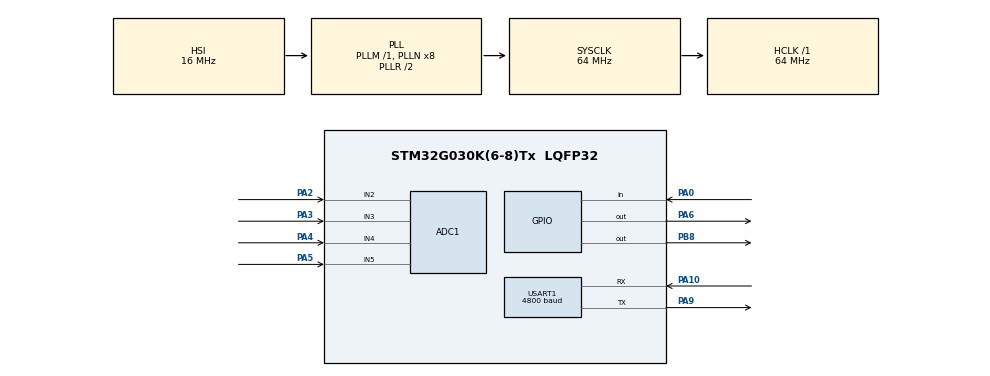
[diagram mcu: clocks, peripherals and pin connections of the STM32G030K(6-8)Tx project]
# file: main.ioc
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ADC1.Channel-0\#ChannelRegularConversion=ADC_CHANNEL_2
ADC1.NbrOfConversionFlag=1
ADC1.Rank-0\#ChannelRegularConversion=1
ADC1.SamplingTime-0\#ChannelRegularConversion=ADC_SAMPLINGTIME_COMMON_1
ADC1.SelectedChannel=ADC_CHANNEL_2|ADC_CHANNEL_3|ADC_CHANNEL_4|ADC_CHANNEL_5
ADC1.master=1
Dma.ADC1.0.Direction=DMA_PERIPH_TO_MEMORY
Dma.ADC1.0.EventEnable=DISABLE
Dma.ADC1.0.Instance=DMA1_Channel1
Dma.ADC1.0.MemDataAlignment=DMA_MDATAALIGN_HALFWORD
Dma.ADC1.0.MemInc=DMA_MINC_ENABLE
Dma.ADC1.0.Mode=DMA_NORMAL
Dma.ADC1.0.PeriphDataAlignment=DMA_PDATAALIGN_HALFWORD
Dma.ADC1.0.PeriphInc=DMA_PINC_DISABLE
Dma.ADC1.0.Polarity=HAL_DMAMUX_REQ_GEN_RISING
Dma.ADC1.0.Priority=DMA_PRIORITY_LOW
Dma.ADC1.0.RequestNumber=1
Dma.ADC1.0.SignalID=NONE
Dma.ADC1.0.SyncEnable=DISABLE
Dma.ADC1.0.SyncPolarity=HAL_DMAMUX_SYNC_NO_EVENT
Dma.ADC1.0.SyncRequestNumber=1
Dma.ADC1.0.SyncSignalID=NONE
Dma.Request0=ADC1
Mcu.Family=STM32G0
Mcu.Name=STM32G030K(6-8)Tx
Mcu.Package=LQFP32
NVIC.DMA1_Channel1_IRQn=true\:0\:0\:false\:false\:true\:false\:true\:true
PA0.GPIO_PuPd=GPIO_PULLDOWN
PA0.Signal=GPIO_Input
PA10.Mode=Asynchronous
PA10.Signal=USART1_RX
PA13.Mode=Serial_Wire
PA13.Signal=SYS_SWDIO
PA14-BOOT0.Mode=Serial_Wire
PA14-BOOT0.Signal=SYS_SWCLK
PA2.Mode=IN2
PA2.Signal=ADC1_IN2
PA3.Mode=IN3
PA3.Signal=ADC1_IN3
PA4.Mode=IN4
PA4.Signal=ADC1_IN4
PA5.Mode=IN5
PA5.Signal=ADC1_IN5
PA6.Signal=GPIO_Output
PA9.Mode=Asynchronous
PA9.Signal=USART1_TX
PB8.Signal=GPIO_Output
ProjectManager.HeapSize=0x200
ProjectManager.StackSize=0x400
ProjectManager.TargetToolchain=MDK-ARM V5.32
RCC.ADCFreq_Value=64000000
RCC.AHBFreq_Value=64000000
RCC.CortexFreq_Value=64000000
RCC.EXTERNAL_CLOCK_VALUE=12288000
RCC.HCLKFreq_Value=64000000
RCC.HSE_VALUE=8000000
RCC.HSI_VALUE=16000000
RCC.SYSCLKFreq_VALUE=64000000
RCC.SYSCLKSource=RCC_SYSCLKSOURCE_PLLCLK
RCC.VCOOutputFreq_Value=128000000
USART1.BaudRate=4800
USART1.VirtualMode-Asynchronous=VM_ASYNC
board=custom

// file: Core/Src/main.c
/* USER CODE BEGIN Header */
/**
  ******************************************************************************
  * @file           : main.c
  * @brief          : Main program body
  ******************************************************************************
  * @attention
  *
  * Copyright (c) 2026 STMicroelectronics.
  * All rights reserved.
  *
  * This software is licensed under terms that can be found in the LICENSE file
  * in the root directory of this software component.
  * If no LICENSE file comes with this software, it is provided AS-IS.
  *
  ******************************************************************************
  */
/* USER CODE END Header */
#include "main.h"
#include "adc.h"
#include "dma.h"
#include "usart.h"
#include "gpio.h"

/* USER CODE BEGIN Includes */
#include <string.h>
/* USER CODE END Includes */

/* USER CODE BEGIN PD */
/* ===================== 从机：串口 DMA 接收 + 帧解析 + GPIO 输出 =====================
   主机每 200ms 至少发一帧（状态一变立刻发）：  CC      data      EE
                                                帧头     数据      帧尾   （固定 3 字节）
   data 的每一位代表一路手套：bit0=CH1 … bit4=CH5（1 = 该路弯曲）

   规则：data 里"二进制 1 的个数" >= BITS_ON_MIN(3)  ->  PA6 输出"亮" + 板载蓝灯 PB8 亮
         否则（1 的个数 0~2 个）                      ->  PA6 输出"灭" + PB8 灭

   接收方式：环形缓冲 + 字节流状态机（不是"一次收固定 3 字节"）
     收到 0xCC 才当帧头、收到 0xEE 才认帧尾，中间夹进来的任何杂字节都会被丢掉，
     所以不管主机比从机晚开机多久、中间有没有打印调试信息，都能自动重新对齐。
   ===================================================================== */
#define RX_RING_SIZE    32u     /* 环形接收缓冲大小（字节） */
#define FRAME_HEAD      0xCCu   /* 帧头 */
#define FRAME_TAIL      0xEEu   /* 帧尾 */

/* ---------- 输出脚 PA6（板子丝印 CH5 网络）：普通 GPIO 输出 ----------
   规则：data 里 1 的个数 >= BITS_ON_MIN -> 输出"亮"电平；否则 -> 输出"灭"电平
   默认 高电平 = 亮（接继电器模块/LED 串电阻到 GND 这类负载）；
   如果你的灯是低电平点亮，把 OUT_ON_LEVEL / OUT_OFF_LEVEL 两个宏对调即可 */
#define OUT_GPIO_PORT   GPIOA
#define OUT_GPIO_PIN    GPIO_PIN_6
#define OUT_ON_LEVEL    GPIO_PIN_SET
#define OUT_OFF_LEVEL   GPIO_PIN_RESET

/* 板载蓝灯 PB8：和 PA6 同一个条件（data 里 1 的个数 >= BITS_ON_MIN -> 亮）
   板载蓝灯是低电平点亮（VCC3V3→LED→1K→PB8） */
#define LED_GPIO_PORT   GPIOB
#define LED_GPIO_PIN    GPIO_PIN_8
#define LED_ON_LEVEL    GPIO_PIN_RESET
#define LED_OFF_LEVEL   GPIO_PIN_SET

/* ★ 亮灯门限：data 的二进制里有几个 1
   >= 3 -> 亮（改这个数字就能改判定条件，1~5 之间）
   例：data=0x1C = 11100 -> 3 个 1 -> 亮；data=0x18 = 11000 -> 2 个 1 -> 灭 */
#define BITS_ON_MIN     3u

/* 各通道对应的位（仅供参考/以后要改回"某几路同时为 1"时用） */
#define CH1_MASK        0x01u   /* bit0 */
#define CH2_MASK        0x02u   /* bit1 */
#define CH3_MASK        0x04u   /* bit2 */
#define CH4_MASK        0x08u   /* bit3 */
#define CH5_MASK        0x10u   /* bit4 */
#define CH45_MASK       (CH4_MASK | CH5_MASK)

/* 串口接收 DMA：G030 只有 DMA1_Channel1~3，Channel1 被 ADC 占了，这里用 Channel2 */
#define RX_DMA_CHANNEL     DMA1_Channel2
#define RX_DMA_IRQn        DMA1_Channel2_3_IRQn
#define RX_DMA_IRQHandler  DMA1_Channel2_3_IRQHandler
/* USER CODE END PD */

/* USER CODE BEGIN PV */
static uint8_t  rx_ring[RX_RING_SIZE];          /* DMA 循环往里写的环形缓冲 */
static uint16_t rx_read_pos = 0U;               /* 已经解析到环形缓冲的哪个位置 */
static DMA_HandleTypeDef hdma_usart1_rx_sw;     /* 串口接收 DMA 句柄 */

/* 帧解析状态机：找帧头 -> 收 data -> 等帧尾 */
#define RX_ST_HEAD  0U
#define RX_ST_DATA  1U
#define RX_ST_TAIL  2U
static uint8_t rx_st   = RX_ST_HEAD;
static uint8_t rx_data = 0U;
/* USER CODE END PV */

void SystemClock_Config(void);

/* USER CODE BEGIN 0 */
/*==============================================================================
 *                          从机功能代码
 *============================================================================*/

/* 数一个字节里有几个二进制 1（Kernighan 法：v &= v-1 每轮消掉最低位的 1）
   例：0x1C(11100) -> 3 ；0x18(11000) -> 2 ；0x00 -> 0 */
static uint8_t bit_count(uint8_t v)
{
  uint8_t n = 0u;

  while (v != 0u)
  {
    v &= (uint8_t)(v - 1u);
    n++;
  }
  return n;
}

/* 板载蓝灯：on != 0 点亮，否则熄灭 */
static void out_led(uint8_t on)
{
  HAL_GPIO_WritePin(LED_GPIO_PORT, LED_GPIO_PIN, (on != 0u) ? LED_ON_LEVEL : LED_OFF_LEVEL);
}

/* PA6 配成普通推挽输出（不用 PWM 了），上电先输出"灭" */
static void out_gpio_init(void)
{
  GPIO_InitTypeDef gpio = {0};

  __HAL_RCC_GPIOA_CLK_ENABLE();

  gpio.Pin   = OUT_GPIO_PIN;              /* PA6 */
  gpio.Mode  = GPIO_MODE_OUTPUT_PP;       /* 推挽输出 */
  gpio.Pull  = GPIO_NOPULL;
  gpio.Speed = GPIO_SPEED_FREQ_LOW;
  HAL_GPIO_Init(OUT_GPIO_PORT, &gpio);

  HAL_GPIO_WritePin(OUT_GPIO_PORT, OUT_GPIO_PIN, OUT_OFF_LEVEL);   /* 上电默认"灭" */
}

/* PA6 输出开关：on != 0 -> 亮电平，否则 -> 灭电平 */
static void out_write(uint8_t on)
{
  HAL_GPIO_WritePin(OUT_GPIO_PORT, OUT_GPIO_PIN, (on != 0u) ? OUT_ON_LEVEL : OUT_OFF_LEVEL);
}

/* 串口接收 DMA：外设(USART1->RDR) -> 内存(rx_ring)，循环模式，一直收不停 */
static void uart1_rx_dma_init(void)
{
  __HAL_RCC_DMA1_CLK_ENABLE();

  hdma_usart1_rx_sw.Instance                 = RX_DMA_CHANNEL;
  hdma_usart1_rx_sw.Init.Request             = DMA_REQUEST_USART1_RX;
  hdma_usart1_rx_sw.Init.Direction           = DMA_PERIPH_TO_MEMORY;
  hdma_usart1_rx_sw.Init.PeriphInc           = DMA_PINC_DISABLE;
  hdma_usart1_rx_sw.Init.MemInc              = DMA_MINC_ENABLE;
  hdma_usart1_rx_sw.Init.PeriphDataAlignment = DMA_PDATAALIGN_BYTE;
  hdma_usart1_rx_sw.Init.MemDataAlignment    = DMA_MDATAALIGN_BYTE;
  hdma_usart1_rx_sw.Init.Mode                = DMA_CIRCULAR;     /* 循环搬运：满了自动回到开头 */
  hdma_usart1_rx_sw.Init.Priority            = DMA_PRIORITY_HIGH;
  if (HAL_DMA_Init(&hdma_usart1_rx_sw) != HAL_OK)
  {
    Error_Handler();
  }

  __HAL_LINKDMA(&huart1, hdmarx, hdma_usart1_rx_sw);

  /* DMA1_Channel2 和 Channel3 共用一个中断向量 */
  HAL_NVIC_SetPriority(RX_DMA_IRQn, 0, 0);
  HAL_NVIC_EnableIRQ(RX_DMA_IRQn);
}

/* DMA 中断（本方案靠主循环查计数取数据，其实用不到，留着以防以后改用中断） */
void RX_DMA_IRQHandler(void)
{
  HAL_DMA_IRQHandler(&hdma_usart1_rx_sw);
}

/* 挂上接收：只挂这一次，之后 DMA 一直在环形缓冲里收 */
static void rx_start(void)
{
  if (HAL_UART_Receive_DMA(&huart1, rx_ring, RX_RING_SIZE) != HAL_OK)
  {
    Error_Handler();
  }

  /* 不需要 DMA 中断：把中断源关掉，主循环自己查 DMA 剩余计数取数据 */
  __HAL_DMA_DISABLE_IT(&hdma_usart1_rx_sw, DMA_IT_TC | DMA_IT_HT | DMA_IT_TE);
}

/* 把 DMA 新收进来的字节喂给状态机（在主循环里频繁调用） */
static void rx_poll(void)
{
  /* DMA 剩余计数 = 还没搬的字节数，所以“环形大小 - 剩余”= 已经收到的字节位置 */
  uint16_t pos = (uint16_t)(RX_RING_SIZE - __HAL_DMA_GET_COUNTER(huart1.hdmarx));

  while (rx_read_pos != pos)
  {
    uint8_t b = rx_ring[rx_read_pos];

    rx_read_pos++;
    if (rx_read_pos >= RX_RING_SIZE)
    {
      rx_read_pos = 0U;
    }

    /* 串口收到字节就不再需要额外处理（灯的亮灭由下面的合法帧控制） */

    switch (rx_st)
    {
      case RX_ST_HEAD:                        /* 找帧头：不是 0xCC 就丢掉，自动重新对齐 */
        if (b == FRAME_HEAD)
        {
          rx_st = RX_ST_DATA;
        }
        break;

      case RX_ST_DATA:                        /* 收 data */
        rx_data = b;
        rx_st   = RX_ST_TAIL;
        break;

      default:                                /* 等帧尾 */
        if (b == FRAME_TAIL)                  /* 完整有效帧 CC data EE */
        {
          /* data 的二进制里"1 的个数" >= BITS_ON_MIN(3)  -> 输出"亮"
             否则（0~2 个 1）                            -> 输出"灭"
             PA6（板子丝印 CH5）和板载蓝灯 PB8 是同一个条件 */
          if (bit_count(rx_data) >= BITS_ON_MIN)
          {
            out_write(1U);
            out_led(1U);
          }
          else
          {
            out_write(0U);
            out_led(0U);
          }

          rx_st = RX_ST_HEAD;
        }
        else if (b == FRAME_HEAD)             /* 帧尾不对，但这个字节可能就是下一帧的帧头 */
        {
          rx_st = RX_ST_DATA;
        }
        else
        {
          rx_st = RX_ST_HEAD;                 /* 彻底重新找帧头 */
        }
        break;
    }
  }
}
/* USER CODE END 0 */

int main(void)
{

  /* MCU Configuration--------------------------------------------------------*/

  /* Reset of all peripherals, Initializes the Flash interface and the Systick. */
  HAL_Init();

  /* Configure the system clock */
  SystemClock_Config();

  /* Initialize all configured peripherals */
  MX_GPIO_Init();
  MX_DMA_Init();
  MX_ADC1_Init();
  MX_USART1_UART_Init();
  /* USER CODE BEGIN 2 */
  out_gpio_init();          /* PA6 配成普通推挽输出（上电"灭"） */
  uart1_rx_dma_init();      /* 自己配一套串口接收 DMA（DMA1_Channel2，循环模式） */
  rx_start();               /* 只挂这一次，之后一直收 */

  /* 上电自检：PB8 快闪 3 下，看到这 3 下就说明新固件在跑；闪完停在"灭" */
  for (uint8_t i = 0U; i < 3U; i++)
  {
    out_led(1U);
    HAL_Delay(100U);
    out_led(0U);
    HAL_Delay(100U);
  }
  out_led(0U);              /* 上电默认灭，之后由主机的 CH4/CH5 决定亮灭 */
/* USER CODE END 2 */

  /* Infinite loop */
  /* USER CODE BEGIN WHILE */
  while (1)
  {
    /* 把 DMA 收到的字节喂给状态机：自动找 0xCC 帧头、0xEE 帧尾；
       收到合法帧就更新 PA6 和 PB8（data 里 1 的个数 >= 3 才亮） */
    rx_poll();
    /* USER CODE END WHILE */

  }
}

void SystemClock_Config(void)
{
  RCC_OscInitTypeDef RCC_OscInitStruct = {0};
  RCC_ClkInitTypeDef RCC_ClkInitStruct = {0};

  /** Configure the main internal regulator output voltage
  */
  HAL_PWREx_ControlVoltageScaling(PWR_REGULATOR_VOLTAGE_SCALE1);

  /** Initializes the RCC Oscillators according to the specified parameters
  * in the RCC_OscInitTypeDef structure.
  */
  RCC_OscInitStruct.OscillatorType = RCC_OSCILLATORTYPE_HSI;
  RCC_OscInitStruct.HSIState = RCC_HSI_ON;
  RCC_OscInitStruct.HSIDiv = RCC_HSI_DIV1;
  RCC_OscInitStruct.HSICalibrationValue = RCC_HSICALIBRATION_DEFAULT;
  RCC_OscInitStruct.PLL.PLLState = RCC_PLL_ON;
  RCC_OscInitStruct.PLL.PLLSource = RCC_PLLSOURCE_HSI;
  RCC_OscInitStruct.PLL.PLLM = RCC_PLLM_DIV1;
  RCC_OscInitStruct.PLL.PLLN = 8;
  RCC_OscInitStruct.PLL.PLLP = RCC_PLLP_DIV2;
  RCC_OscInitStruct.PLL.PLLR = RCC_PLLR_DIV2;
  if (HAL_RCC_OscConfig(&RCC_OscInitStruct) != HAL_OK)
  {
    Error_Handler();
  }

  /** Initializes the CPU, AHB and APB buses clocks
  */
  RCC_ClkInitStruct.ClockType = RCC_CLOCKTYPE_HCLK|RCC_CLOCKTYPE_SYSCLK
                              |RCC_CLOCKTYPE_PCLK1;
  RCC_ClkInitStruct.SYSCLKSource = RCC_SYSCLKSOURCE_PLLCLK;
  RCC_ClkInitStruct.AHBCLKDivider = RCC_SYSCLK_DIV1;
  RCC_ClkInitStruct.APB1CLKDivider = RCC_HCLK_DIV1;

  if (HAL_RCC_ClockConfig(&RCC_ClkInitStruct, FLASH_LATENCY_2) != HAL_OK)
  {
    Error_Handler();
  }
}

void Error_Handler(void)
{
  __disable_irq();
  while (1)
  {
  }
}
